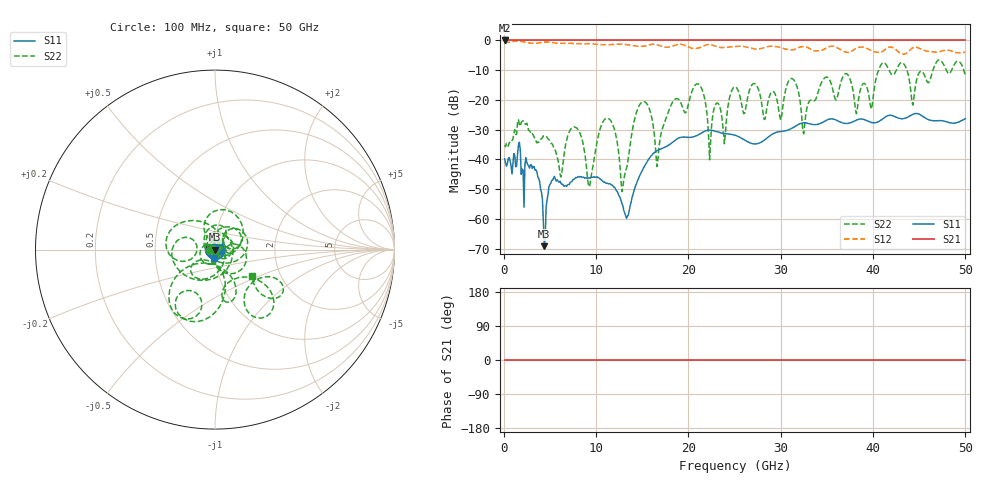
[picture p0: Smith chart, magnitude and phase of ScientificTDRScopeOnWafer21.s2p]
# MHz MA S R 50.0
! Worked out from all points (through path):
!   500 points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, 100 MHz to 50 GHz, reference 50 ohm
!   highest |S21| = 0.00 dB at 100 MHz (marker M1); lowest = 0.0 dB at 100 MHz (marker M2)
!   lowest |S11| = -69.2 dB at 4.4 GHz (marker M3), VSWR 1.00, Z = 50 + j0.0234 ohm
!   |S11| at or under -10 dB: start of sweep to end of sweep
!   |S22| runs from -50.8 to -6.6 dB; largest |S21 - S12| = 2
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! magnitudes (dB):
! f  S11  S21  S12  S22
! 100 MHz  -39.8  0.0  -0.3  -35.1
! 3.4 GHz  -43.6  0.0  -0.9  -32.9
! 4.4 GHz  -69.2  0.0  -0.5  -32.1
! 5.3 GHz  -47.0  0.0  -0.7  -35.1
! 6.2 GHz  -48.0  0.0  -0.9  -45.9
! 7.3 GHz  -47.6  0.0  -1.0  -29.6
! 8.5 GHz  -46.1  0.0  -1.1  -33.4
! 9.3 GHz  -46.3  0.0  -1.1  -49.0
! 11.4 GHz  -48.2  0.0  -1.4  -26.3
! 13.3 GHz  -59.8  0.0  -1.4  -42.9
! 15 GHz  -43.7  0.0  -2.0  -20.7
! 16.8 GHz  -36.7  0.0  -1.6  -36.4
! 18.5 GHz  -33.7  0.0  -1.7  -19.9
! 21.2 GHz  -31.5  0.0  -2.4  -14.9
! 22.3 GHz  -30.1  0.0  -1.4  -40.1
! 25.1 GHz  -31.9  0.0  -2.0  -15.6
! 33.4 GHz  -28.2  0.0  -3.2  -20.1
! 37.1 GHz  -27.9  0.0  -4.0  -11.1
! 39.8 GHz  -27.6  0.0  -3.4  -23.0
! 41.7 GHz  -25.2  0.0  -2.3  -9.8
! 44.3 GHz  -24.9  0.0  -2.4  -21.7
! 50 GHz  -26.3  0.0  -3.8  -11.9
